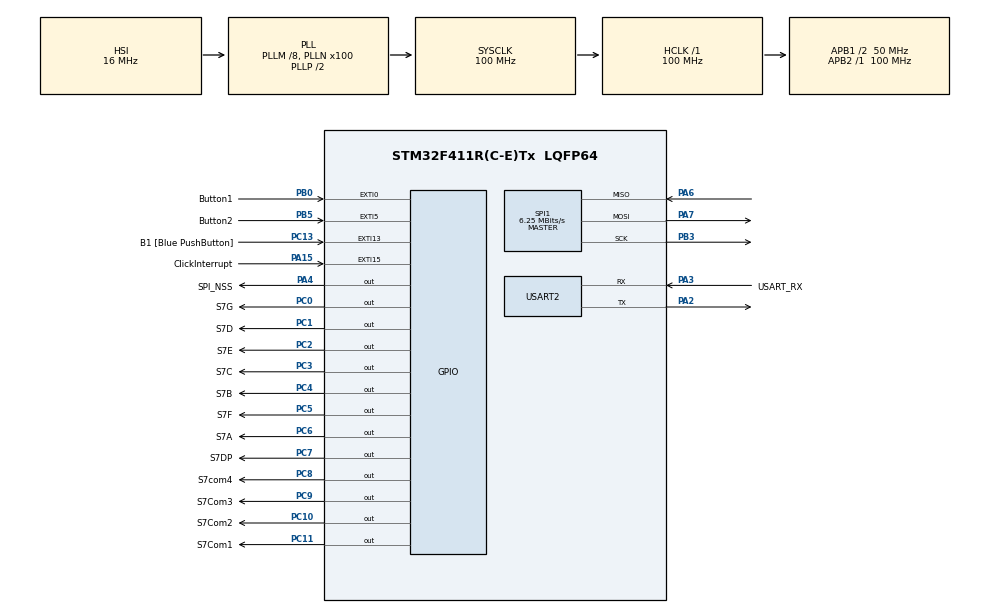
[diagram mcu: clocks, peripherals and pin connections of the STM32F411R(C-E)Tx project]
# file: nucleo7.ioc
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Mcu.Family=STM32F4
Mcu.Name=STM32F411R(C-E)Tx
Mcu.Package=LQFP64
NVIC.EXTI0_IRQn=true\:0\:0\:false\:false\:true\:true\:true\:true
NVIC.EXTI15_10_IRQn=true\:0\:0\:false\:false\:true\:true\:true\:true
NVIC.EXTI9_5_IRQn=true\:0\:0\:false\:false\:true\:true\:true\:true
NVIC.PriorityGroup=NVIC_PRIORITYGROUP_0
NVIC.TIM1_UP_TIM10_IRQn=true\:0\:0\:false\:false\:true\:true\:true\:true
PA13.GPIO_Label=TMS
PA13.Mode=Serial_Wire
PA13.Signal=SYS_JTMS-SWDIO
PA14.GPIO_Label=TCK
PA14.Mode=Serial_Wire
PA14.Signal=SYS_JTCK-SWCLK
PA15.GPIO_Label=ClickInterrupt
PA15.Signal=GPXTI15
PA2.Mode=Asynchronous
PA2.Signal=USART2_TX
PA3.GPIO_Label=USART_RX
PA3.Mode=Asynchronous
PA3.Signal=USART2_RX
PA4.GPIO_Label=SPI_NSS
PA4.GPIO_PuPd=GPIO_PULLUP
PA4.GPIO_Speed=GPIO_SPEED_FREQ_HIGH
PA4.PinState=GPIO_PIN_SET
PA4.Signal=GPIO_Output
PA6.Mode=Full_Duplex_Master
PA6.Signal=SPI1_MISO
PA7.Mode=Full_Duplex_Master
PA7.Signal=SPI1_MOSI
PB0.GPIO_Label=Button1
PB0.GPIO_PuPd=GPIO_PULLUP
PB0.Signal=GPXTI0
PB3.Mode=Full_Duplex_Master
PB3.Signal=SPI1_SCK
PB5.GPIO_Label=Button2
PB5.GPIO_PuPd=GPIO_PULLUP
PB5.Signal=GPXTI5
PC0.GPIO_Label=S7G
PC0.Signal=GPIO_Output
PC1.GPIO_Label=S7D
PC1.Signal=GPIO_Output
PC10.GPIO_Label=S7Com2
PC10.Signal=GPIO_Output
PC11.GPIO_Label=S7Com1
PC11.Signal=GPIO_Output
PC13-ANTI_TAMP.GPIO_Label=B1 [Blue PushButton]
PC13-ANTI_TAMP.GPIO_ModeDefaultEXTI=GPIO_MODE_IT_FALLING
PC13-ANTI_TAMP.Signal=GPXTI13
PC14-OSC32_IN.Mode=LSE-External-Oscillator
PC14-OSC32_IN.Signal=RCC_OSC32_IN
PC15-OSC32_OUT.Mode=LSE-External-Oscillator
PC15-OSC32_OUT.Signal=RCC_OSC32_OUT
PC2.GPIO_Label=S7E
PC2.Signal=GPIO_Output
PC3.GPIO_Label=S7C
PC3.Signal=GPIO_Output
PC4.GPIO_Label=S7B
PC4.Signal=GPIO_Output
PC5.GPIO_Label=S7F
PC5.Signal=GPIO_Output
PC6.GPIO_Label=S7A
PC6.Signal=GPIO_Output
PC7.GPIO_Label=S7DP
PC7.Signal=GPIO_Output
PC8.GPIO_Label=S7com4
PC8.Signal=GPIO_Output
PC9.GPIO_Label=S7Com3
PC9.Signal=GPIO_Output
PH0\ -\ OSC_IN.Mode=HSE-External-Clock-Source
PH0\ -\ OSC_IN.Signal=RCC_OSC_IN
PH1\ -\ OSC_OUT.Mode=HSE-External-Clock-Source
PH1\ -\ OSC_OUT.Signal=RCC_OSC_OUT
ProjectManager.HeapSize=0x200
ProjectManager.StackSize=0x400
ProjectManager.TargetToolchain=STM32CubeIDE
RCC.48MHZClocksFreq_Value=50000000
RCC.AHBFreq_Value=100000000
RCC.APB1CLKDivider=RCC_HCLK_DIV2
RCC.APB1Freq_Value=50000000
RCC.APB1TimFreq_Value=100000000
RCC.APB2Freq_Value=100000000
RCC.APB2TimFreq_Value=100000000
RCC.CortexFreq_Value=100000000
RCC.FLatency-AdvancedSettings=FLASH_LATENCY_3
RCC.HCLKFreq_Value=100000000
RCC.HSE_VALUE=8000000
RCC.HSI_VALUE=16000000
RCC.PLLM=8
RCC.PLLN=100
RCC.SYSCLKFreq_VALUE=100000000
RCC.SYSCLKSource=RCC_SYSCLKSOURCE_PLLCLK
RCC.VCOOutputFreq_Value=200000000
SPI1.BaudRatePrescaler=SPI_BAUDRATEPRESCALER_16
SPI1.CalculateBaudRate=6.25 MBits/s
SPI1.DataSize=SPI_DATASIZE_16BIT
SPI1.Direction=SPI_DIRECTION_2LINES
SPI1.Mode=SPI_MODE_MASTER
SPI1.VirtualType=VM_MASTER
TIM1.Period=20000
TIM1.Prescaler=100
USART2.VirtualMode=VM_ASYNC
VP_TIM1_VS_ClockSourceINT.Mode=Internal
board=NUCLEO-F411RE

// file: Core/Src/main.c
/* USER CODE BEGIN Header */
/* USER CODE END Header */
#include "main.h"

SPI_HandleTypeDef hspi1;

TIM_HandleTypeDef htim1;

UART_HandleTypeDef huart2;

void SystemClock_Config(void);
static void MX_GPIO_Init(void);
static void MX_SPI1_Init(void);
static void MX_TIM1_Init(void);
static void MX_USART2_UART_Init(void);

/* USER CODE BEGIN 0 */
uint16_t SPITx[10];
uint16_t SPIRx[10];

uint8_t SPIRead( uint8_t Address ) {
SPITx[0] = (0x80 | Address) << 8;
HAL_GPIO_WritePin(GPIOA, SPI_NSS_Pin, GPIO_PIN_RESET);
HAL_SPI_TransmitReceive(&hspi1, SPITx, SPIRx, 1, 100);
HAL_GPIO_WritePin(GPIOA, SPI_NSS_Pin, GPIO_PIN_SET);
return( (int8_t)(SPIRx[0] & 0xFF) );
}
void SPIWrite( uint8_t AddressAndAtributes, uint8_t Data ) {
SPITx[0] = (AddressAndAtributes << 8) + Data;
HAL_GPIO_WritePin(GPIOA, SPI_NSS_Pin, GPIO_PIN_RESET);
HAL_SPI_TransmitReceive(&hspi1, SPITx, SPIRx, 1, 100);
HAL_GPIO_WritePin(GPIOA, SPI_NSS_Pin, GPIO_PIN_SET);
}
int __io_putchar(int ch) {
    HAL_UART_Transmit(&huart2, (uint8_t *)&ch, 1, 0xFFFF);
    return ch;
}

int getchar(void) {
    uint8_t value;
    if( __HAL_UART_GET_FLAG(&huart2, UART_FLAG_RXNE) != SET )
    return( -1 );
    if (__HAL_UART_GET_FLAG(&huart2, UART_FLAG_RXNE) == SET)
    HAL_UART_Receive(&huart2, &value, 1, 100);
    __io_putchar( value );
    return ((int) value);
}
/* USER CODE END 0 */

int main(void)
{

  /* MCU Configuration--------------------------------------------------------*/

  /* Reset of all peripherals, Initializes the Flash interface and the Systick. */
  HAL_Init();

  /* Configure the system clock */
  SystemClock_Config();

  /* Initialize all configured peripherals */
  MX_GPIO_Init();
  MX_SPI1_Init();
  MX_TIM1_Init();
  MX_USART2_UART_Init();
  /* USER CODE BEGIN 2 */
  HAL_TIM_Base_Start_IT(&htim1);
  SPIWrite(0x20, 0b11000111); // CTRL_REG1 – DR, PD, Zen, Yen i Xen
  SPIWrite(0x21, 0b01000000); // CTRL_REG2 – BOOT.
  SPIWrite(0x22, 0b10000111); // CTRL_REG3 – IHL, I1CFG2, I1CFG1 i I1CFG0.

  /* USER CODE END 2 */

  /* Infinite loop */
  while (1)
  {

  }
}

void SystemClock_Config(void)
{
  RCC_OscInitTypeDef RCC_OscInitStruct = {0};
  RCC_ClkInitTypeDef RCC_ClkInitStruct = {0};

  /** Configure the main internal regulator output voltage
  */
  __HAL_RCC_PWR_CLK_ENABLE();
  __HAL_PWR_VOLTAGESCALING_CONFIG(PWR_REGULATOR_VOLTAGE_SCALE1);

  /** Initializes the RCC Oscillators according to the specified parameters
  * in the RCC_OscInitTypeDef structure.
  */
  RCC_OscInitStruct.OscillatorType = RCC_OSCILLATORTYPE_HSI;
  RCC_OscInitStruct.HSIState = RCC_HSI_ON;
  RCC_OscInitStruct.HSICalibrationValue = RCC_HSICALIBRATION_DEFAULT;
  RCC_OscInitStruct.PLL.PLLState = RCC_PLL_ON;
  RCC_OscInitStruct.PLL.PLLSource = RCC_PLLSOURCE_HSI;
  RCC_OscInitStruct.PLL.PLLM = 8;
  RCC_OscInitStruct.PLL.PLLN = 100;
  RCC_OscInitStruct.PLL.PLLP = RCC_PLLP_DIV2;
  RCC_OscInitStruct.PLL.PLLQ = 4;
  if (HAL_RCC_OscConfig(&RCC_OscInitStruct) != HAL_OK)
  {
    Error_Handler();
  }

  /** Initializes the CPU, AHB and APB buses clocks
  */
  RCC_ClkInitStruct.ClockType = RCC_CLOCKTYPE_HCLK|RCC_CLOCKTYPE_SYSCLK
                              |RCC_CLOCKTYPE_PCLK1|RCC_CLOCKTYPE_PCLK2;
  RCC_ClkInitStruct.SYSCLKSource = RCC_SYSCLKSOURCE_PLLCLK;
  RCC_ClkInitStruct.AHBCLKDivider = RCC_SYSCLK_DIV1;
  RCC_ClkInitStruct.APB1CLKDivider = RCC_HCLK_DIV2;
  RCC_ClkInitStruct.APB2CLKDivider = RCC_HCLK_DIV1;

  if (HAL_RCC_ClockConfig(&RCC_ClkInitStruct, FLASH_LATENCY_3) != HAL_OK)
  {
    Error_Handler();
  }
}

static void MX_SPI1_Init(void)
{

  /* SPI1 parameter configuration*/
  hspi1.Instance = SPI1;
  hspi1.Init.Mode = SPI_MODE_MASTER;
  hspi1.Init.Direction = SPI_DIRECTION_2LINES;
  hspi1.Init.DataSize = SPI_DATASIZE_16BIT;
  hspi1.Init.CLKPolarity = SPI_POLARITY_LOW;
  hspi1.Init.CLKPhase = SPI_PHASE_1EDGE;
  hspi1.Init.NSS = SPI_NSS_SOFT;
  hspi1.Init.BaudRatePrescaler = SPI_BAUDRATEPRESCALER_16;
  hspi1.Init.FirstBit = SPI_FIRSTBIT_MSB;
  hspi1.Init.TIMode = SPI_TIMODE_DISABLE;
  hspi1.Init.CRCCalculation = SPI_CRCCALCULATION_DISABLE;
  hspi1.Init.CRCPolynomial = 10;
  if (HAL_SPI_Init(&hspi1) != HAL_OK)
  {
    Error_Handler();
  }

}

static void MX_TIM1_Init(void)
{

  TIM_ClockConfigTypeDef sClockSourceConfig = {0};
  TIM_MasterConfigTypeDef sMasterConfig = {0};

  htim1.Instance = TIM1;
  htim1.Init.Prescaler = 100;
  htim1.Init.CounterMode = TIM_COUNTERMODE_UP;
  htim1.Init.Period = 20000;
  htim1.Init.ClockDivision = TIM_CLOCKDIVISION_DIV1;
  htim1.Init.RepetitionCounter = 0;
  htim1.Init.AutoReloadPreload = TIM_AUTORELOAD_PRELOAD_DISABLE;
  if (HAL_TIM_Base_Init(&htim1) != HAL_OK)
  {
    Error_Handler();
  }
  sClockSourceConfig.ClockSource = TIM_CLOCKSOURCE_INTERNAL;
  if (HAL_TIM_ConfigClockSource(&htim1, &sClockSourceConfig) != HAL_OK)
  {
    Error_Handler();
  }
  sMasterConfig.MasterOutputTrigger = TIM_TRGO_RESET;
  sMasterConfig.MasterSlaveMode = TIM_MASTERSLAVEMODE_DISABLE;
  if (HAL_TIMEx_MasterConfigSynchronization(&htim1, &sMasterConfig) != HAL_OK)
  {
    Error_Handler();
  }

}

static void MX_USART2_UART_Init(void)
{

  huart2.Instance = USART2;
  huart2.Init.BaudRate = 115200;
  huart2.Init.WordLength = UART_WORDLENGTH_8B;
  huart2.Init.StopBits = UART_STOPBITS_1;
  huart2.Init.Parity = UART_PARITY_NONE;
  huart2.Init.Mode = UART_MODE_TX_RX;
  huart2.Init.HwFlowCtl = UART_HWCONTROL_NONE;
  huart2.Init.OverSampling = UART_OVERSAMPLING_16;
  if (HAL_UART_Init(&huart2) != HAL_OK)
  {
    Error_Handler();
  }

}

static void MX_GPIO_Init(void)
{
  GPIO_InitTypeDef GPIO_InitStruct = {0};

  /* GPIO Ports Clock Enable */
  __HAL_RCC_GPIOC_CLK_ENABLE();
  __HAL_RCC_GPIOH_CLK_ENABLE();
  __HAL_RCC_GPIOA_CLK_ENABLE();
  __HAL_RCC_GPIOB_CLK_ENABLE();

  /*Configure GPIO pin Output Level */
  HAL_GPIO_WritePin(GPIOC, S7G_Pin|S7D_Pin|S7E_Pin|S7C_Pin
                          |S7B_Pin|S7F_Pin|S7A_Pin|S7DP_Pin
                          |S7com4_Pin|S7Com3_Pin|S7Com2_Pin|S7Com1_Pin, GPIO_PIN_RESET);

  /*Configure GPIO pin Output Level */
  HAL_GPIO_WritePin(SPI_NSS_GPIO_Port, SPI_NSS_Pin, GPIO_PIN_SET);

  /*Configure GPIO pin : B1_Pin */
  GPIO_InitStruct.Pin = B1_Pin;
  GPIO_InitStruct.Mode = GPIO_MODE_IT_FALLING;
  GPIO_InitStruct.Pull = GPIO_NOPULL;
  HAL_GPIO_Init(B1_GPIO_Port, &GPIO_InitStruct);

  /*Configure GPIO pins : S7G_Pin S7D_Pin S7E_Pin S7C_Pin
                           S7B_Pin S7F_Pin S7A_Pin S7DP_Pin
                           S7com4_Pin S7Com3_Pin S7Com2_Pin S7Com1_Pin */
  GPIO_InitStruct.Pin = S7G_Pin|S7D_Pin|S7E_Pin|S7C_Pin
                          |S7B_Pin|S7F_Pin|S7A_Pin|S7DP_Pin
                          |S7com4_Pin|S7Com3_Pin|S7Com2_Pin|S7Com1_Pin;
  GPIO_InitStruct.Mode = GPIO_MODE_OUTPUT_PP;
  GPIO_InitStruct.Pull = GPIO_NOPULL;
  GPIO_InitStruct.Speed = GPIO_SPEED_FREQ_LOW;
  HAL_GPIO_Init(GPIOC, &GPIO_InitStruct);

  /*Configure GPIO pin : SPI_NSS_Pin */
  GPIO_InitStruct.Pin = SPI_NSS_Pin;
  GPIO_InitStruct.Mode = GPIO_MODE_OUTPUT_PP;
  GPIO_InitStruct.Pull = GPIO_PULLUP;
  GPIO_InitStruct.Speed = GPIO_SPEED_FREQ_HIGH;
  HAL_GPIO_Init(SPI_NSS_GPIO_Port, &GPIO_InitStruct);

  /*Configure GPIO pins : Button1_Pin Button2_Pin */
  GPIO_InitStruct.Pin = Button1_Pin|Button2_Pin;
  GPIO_InitStruct.Mode = GPIO_MODE_IT_RISING;
  GPIO_InitStruct.Pull = GPIO_PULLUP;
  HAL_GPIO_Init(GPIOB, &GPIO_InitStruct);

  /*Configure GPIO pin : ClickInterrupt_Pin */
  GPIO_InitStruct.Pin = ClickInterrupt_Pin;
  GPIO_InitStruct.Mode = GPIO_MODE_IT_RISING;
  GPIO_InitStruct.Pull = GPIO_NOPULL;
  HAL_GPIO_Init(ClickInterrupt_GPIO_Port, &GPIO_InitStruct);

  /* EXTI interrupt init*/
  HAL_NVIC_SetPriority(EXTI0_IRQn, 0, 0);
  HAL_NVIC_EnableIRQ(EXTI0_IRQn);

  HAL_NVIC_SetPriority(EXTI9_5_IRQn, 0, 0);
  HAL_NVIC_EnableIRQ(EXTI9_5_IRQn);

  HAL_NVIC_SetPriority(EXTI15_10_IRQn, 0, 0);
  HAL_NVIC_EnableIRQ(EXTI15_10_IRQn);

}

/* USER CODE BEGIN 4 */
void HAL_TIM_PeriodElapsedCallback(TIM_HandleTypeDef *htim) {
	if( htim == &htim1 ) {
		int8_t out_x = SPIRead(0x29);
		int8_t out_y = SPIRead(0x2B);
		int8_t out_z = SPIRead(0x2D);
		printf("%d, %d, %d\n\r", out_x, out_y, out_z);
	}
}
/* USER CODE END 4 */

void Error_Handler(void)
{
}
